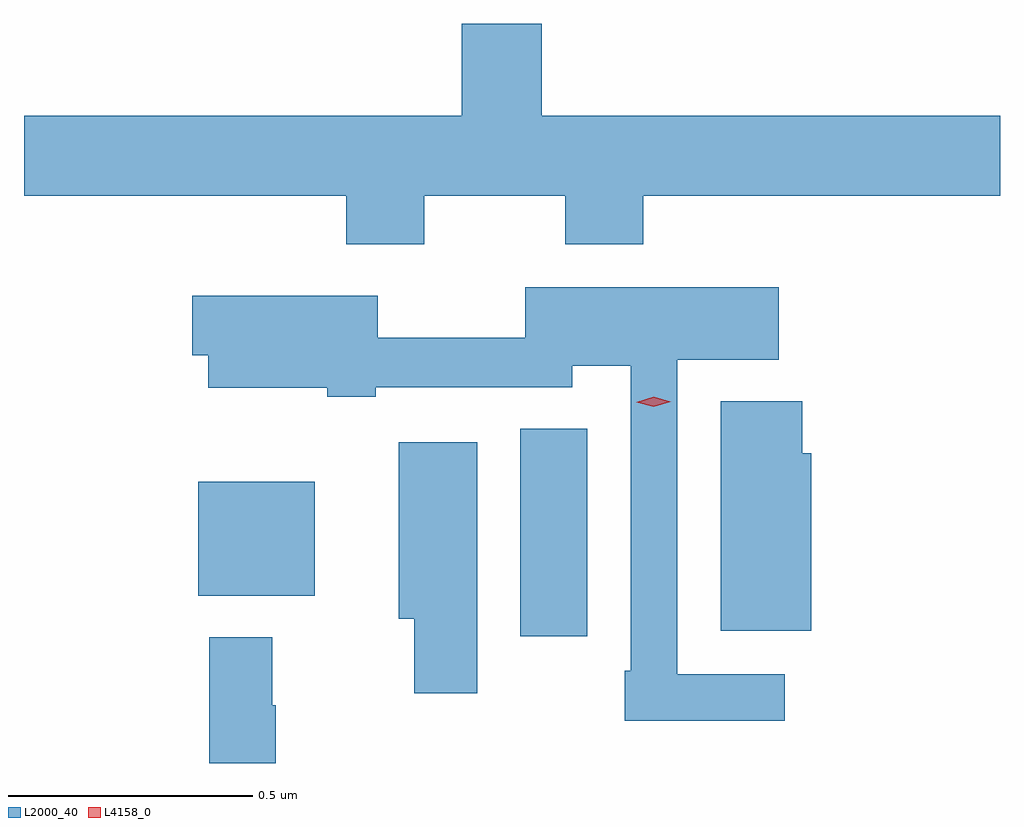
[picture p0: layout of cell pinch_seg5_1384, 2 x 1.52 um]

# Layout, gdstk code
import gdstk
lib = gdstk.Library(unit=1e-6, precision=1e-09)
def R(c, l, rs):  # rectangles x0, y0, x1, y1
    for r in rs: c.add(gdstk.rectangle(r[:2], r[2:], *l))
def P(c, l, *ps):  # polygons
    for p in ps: c.add(gdstk.Polygon(p, *l))
L2000_40 = (2000, 40)
L4158_0 = (4158, 0)

pinch_seg5_1384 = lib.new_cell('pinch_seg5_1384')
R(pinch_seg5_1384, L2000_40, [(273.02,901.146,273.157,901.571), (272.36,901.229,272.599,901.462)])
P(pinch_seg5_1384, L2000_40, [(272.823,902.048),(273.112,902.048),(273.112,901.949),(273.272,901.949),(273.272,902.048),(274.003,902.048),(274.003,902.212),(273.064,902.212),(273.064,902.401),(272.9,902.401),(272.9,902.212),(272.003,902.212),(272.003,902.048),(272.663,902.048),(272.663,901.949),(272.823,901.949)],
  [(273.562,901.068),(273.342,901.068),(273.342,901.712),(273.55,901.712),(273.55,901.861),(273.03,901.861),(273.03,901.757),(272.728,901.757),(272.728,901.843),(272.348,901.843),(272.348,901.721),(272.381,901.721),(272.381,901.655),(272.624,901.655),(272.624,901.636),(272.724,901.636),(272.724,901.656),(273.126,901.656),(273.126,901.7),(273.246,901.7),(273.246,901.075),(273.234,901.075),(273.234,900.972),(273.562,900.972)],
  [(273.616,901.521),(273.598,901.521),(273.598,901.627),(273.431,901.627),(273.431,901.157),(273.616,901.157)],
  [(272.932,901.543),(272.771,901.543),(272.771,901.181),(272.803,901.181),(272.803,901.029),(272.932,901.029)],
  [(272.519,901.004),(272.512,901.004),(272.512,901.144),(272.383,901.144),(272.383,900.885),(272.519,900.885)])
P(pinch_seg5_1384, L4158_0, [(273.293,901.616),(273.258,901.625),(273.258,901.625),(273.258,901.625),(273.293,901.636),(273.328,901.626),(273.328,901.626),(273.328,901.626)])

lib.write_gds('pinch_seg5_1384.gds')
